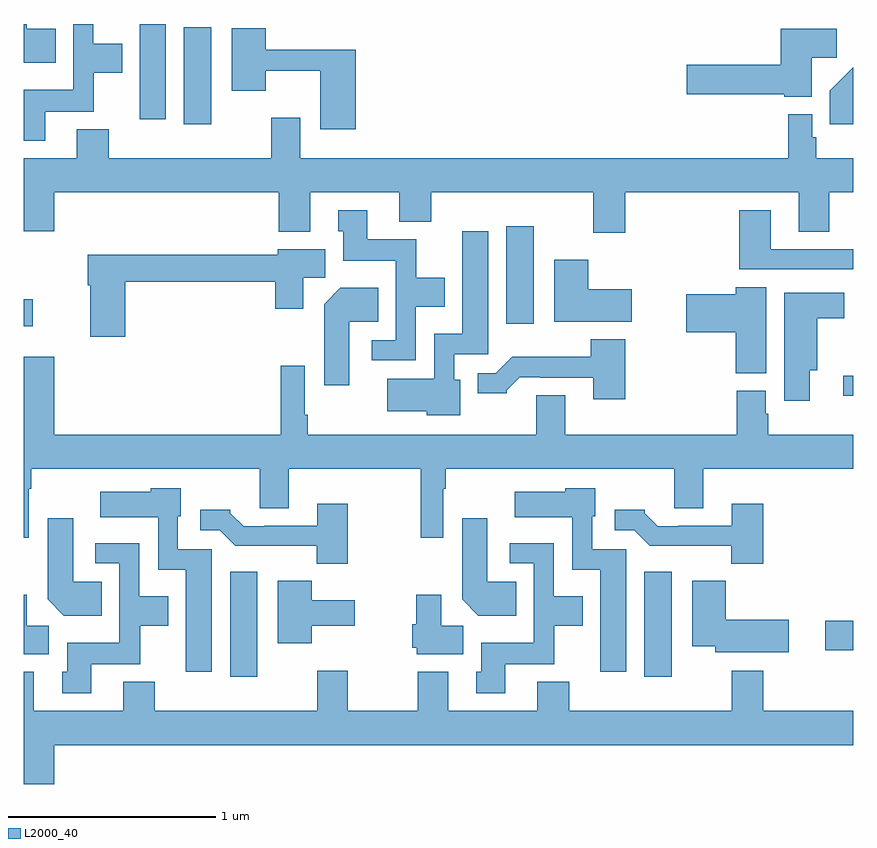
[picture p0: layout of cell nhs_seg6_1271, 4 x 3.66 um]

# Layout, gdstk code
import gdstk
lib = gdstk.Library(unit=1e-6, precision=1e-09)
def R(c, l, rs):  # rectangles x0, y0, x1, y1
    for r in rs: c.add(gdstk.rectangle(r[:2], r[2:], *l))
def P(c, l, *ps):  # polygons
    for p in ps: c.add(gdstk.Polygon(p, *l))
L2000_40 = (2000, 40)

nhs_seg6_1271 = lib.new_cell('nhs_seg6_1271')
R(nhs_seg6_1271, L2000_40, [(189.995,926.352,190.126,926.86), (191.993,926.352,192.124,926.86), (192.864,926.482,193,926.624), (192.951,927.707,193,927.804), (189,928.043,189.043,928.173), (191.327,928.056,191.458,928.525), (189.773,929.016,189.904,929.485), (189.56,929.04,189.685,929.5)])
P(nhs_seg6_1271, L2000_40, [(189.155,929.476),(189.016,929.476),(189.016,929.5),(189,929.5),(189,929.312),(189.155,929.312)],
  [(189.103,929.078),(189.339,929.078),(189.339,929.264),(189.475,929.264),(189.475,929.404),(189.336,929.404),(189.336,929.5),(189.24,929.5),(189.24,929.182),(189,929.182),(189,928.938),(189.103,928.938)],
  [(190.601,929.375),(190.166,929.375),(190.166,929.479),(190.004,929.479),(190.004,929.178),(190.168,929.178),(190.168,929.275),(190.43,929.275),(190.43,928.992),(190.601,928.992)],
  [(192.799,929.338),(192.92,929.338),(192.92,929.476),(192.65,929.476),(192.65,929.303),(192.198,929.303),(192.198,929.161),(192.666,929.161),(192.666,929.15),(192.799,929.15)],
  [(193,929.292),(192.886,929.178),(192.886,929.016),(193,929.016)],
  [(191.9,928.688),(192.737,928.688),(192.737,928.498),(192.885,928.498),(192.885,928.688),(193,928.688),(193,928.852),(192.821,928.852),(192.821,928.953),(192.801,928.953),(192.801,929.065),(192.685,929.065),(192.685,928.852),(190.333,928.852),(190.333,929.047),(190.193,929.047),(190.193,928.852),(189.41,928.852),(189.41,928.993),(189.257,928.993),(189.257,928.852),(189,928.852),(189,928.5),(189.148,928.5),(189.148,928.688),(190.229,928.688),(190.229,928.499),(190.381,928.499),(190.381,928.688),(190.811,928.688),(190.811,928.547),(190.964,928.547),(190.964,928.688),(191.747,928.688),(191.747,928.494),(191.9,928.494)],
  [(193,928.413),(192.601,928.413),(192.601,928.603),(192.449,928.603),(192.449,928.317),(193,928.317)],
  [(190.89,928.136),(191.029,928.136),(191.029,928.276),(190.893,928.276),(190.893,928.462),(190.657,928.462),(190.657,928.603),(190.517,928.603),(190.517,928.5),(190.541,928.5),(190.541,928.358),(190.794,928.358),(190.794,927.975),(190.677,927.975),(190.677,927.879),(190.89,927.879)],
  [(191.104,927.786),(191.076,927.786),(191.076,927.909),(191.239,927.909),(191.239,928.501),(191.114,928.501),(191.114,928.006),(190.98,928.006),(190.98,927.79),(190.752,927.79),(190.752,927.632),(190.944,927.632),(190.944,927.614),(191.104,927.614)],
  [(189.491,928.258),(190.214,928.258),(190.214,928.128),(190.348,928.128),(190.348,928.276),(190.453,928.276),(190.453,928.414),(190.226,928.414),(190.226,928.387),(189.308,928.387),(189.308,928.241),(189.32,928.241),(189.32,927.993),(189.491,927.993)],
  [(191.932,928.222),(191.722,928.222),(191.722,928.363),(191.558,928.363),(191.558,928.064),(191.932,928.064)],
  [(192.58,928.232),(192.434,928.232),(192.434,928.196),(192.195,928.196),(192.195,928.013),(192.434,928.013),(192.434,927.817),(192.58,927.817)],
  [(190.57,928.064),(190.709,928.064),(190.709,928.228),(190.526,928.228),(190.448,928.15),(190.448,927.759),(190.57,927.759)],
  [(192.79,927.83),(192.826,927.83),(192.826,928.082),(192.955,928.082),(192.955,928.204),(192.668,928.204),(192.668,927.684),(192.79,927.684)],
  [(191.9,927.979),(191.735,927.979),(191.735,927.895),(191.356,927.895),(191.277,927.816),(191.189,927.816),(191.189,927.719),(191.328,927.719),(191.328,927.734),(191.392,927.798),(191.491,927.798),(191.491,927.795),(191.747,927.795),(191.747,927.69),(191.9,927.69)],
  [(189.024,927.26),(189.037,927.26),(189.037,927.356),(190.139,927.356),(190.139,927.166),(190.279,927.166),(190.279,927.356),(190.914,927.356),(190.914,927.024),(191.022,927.024),(191.022,927.26),(191.035,927.26),(191.035,927.356),(192.137,927.356),(192.137,927.166),(192.277,927.166),(192.277,927.356),(193,927.356),(193,927.52),(192.59,927.52),(192.59,927.621),(192.577,927.621),(192.577,927.732),(192.437,927.732),(192.437,927.52),(191.611,927.52),(191.611,927.71),(191.471,927.71),(191.471,927.52),(190.369,927.52),(190.369,927.616),(190.356,927.616),(190.356,927.853),(190.24,927.853),(190.24,927.52),(189.148,927.52),(189.148,927.895),(189,927.895),(189,927.024),(189.024,927.024)],
  [(191.905,926.967),(191.742,926.967),(191.742,927.126),(191.755,927.126),(191.755,927.262),(191.61,927.262),(191.61,927.244),(191.367,927.244),(191.367,927.122),(191.646,927.122),(191.646,926.87),(191.78,926.87),(191.78,926.376),(191.905,926.376)],
  [(189.907,926.967),(189.744,926.967),(189.744,927.126),(189.757,927.126),(189.757,927.262),(189.612,927.262),(189.612,927.244),(189.369,927.244),(189.369,927.122),(189.648,927.122),(189.648,926.87),(189.782,926.87),(189.782,926.376),(189.907,926.376)],
  [(192.566,927.187),(192.413,927.187),(192.413,927.081),(192.157,927.081),(192.157,927.078),(192.058,927.078),(191.994,927.142),(191.994,927.157),(191.85,927.157),(191.85,927.06),(191.943,927.06),(192.019,926.984),(192.411,926.984),(192.411,926.897),(192.566,926.897)],
  [(190.563,927.187),(190.415,927.187),(190.415,927.081),(190.159,927.081),(190.159,927.078),(190.06,927.078),(189.996,927.142),(189.996,927.157),(189.852,927.157),(189.852,927.06),(189.945,927.06),(190.021,926.984),(190.413,926.984),(190.413,926.897),(190.563,926.897)],
  [(191.375,926.812),(191.236,926.812),(191.236,927.118),(191.114,927.118),(191.114,926.726),(191.192,926.648),(191.375,926.648)],
  [(189.377,926.812),(189.238,926.812),(189.238,927.118),(189.116,927.118),(189.116,926.726),(189.194,926.648),(189.377,926.648)],
  [(189.325,926.414),(189.561,926.414),(189.561,926.6),(189.697,926.6),(189.697,926.74),(189.558,926.74),(189.558,926.997),(189.345,926.997),(189.345,926.901),(189.462,926.901),(189.462,926.518),(189.209,926.518),(189.209,926.376),(189.185,926.376),(189.185,926.274),(189.325,926.274)],
  [(191.323,926.414),(191.559,926.414),(191.559,926.6),(191.695,926.6),(191.695,926.74),(191.556,926.74),(191.556,926.997),(191.343,926.997),(191.343,926.901),(191.46,926.901),(191.46,926.518),(191.207,926.518),(191.207,926.376),(191.183,926.376),(191.183,926.274),(191.323,926.274)],
  [(190.39,926.6),(190.597,926.6),(190.597,926.722),(190.388,926.722),(190.388,926.815),(190.226,926.815),(190.226,926.514),(190.39,926.514)],
  [(192.688,926.629),(192.386,926.629),(192.386,926.815),(192.224,926.815),(192.224,926.501),(192.335,926.501),(192.335,926.471),(192.688,926.471)],
  [(189.121,926.6),(189.016,926.6),(189.016,926.749),(189,926.749),(189,926.462),(189.121,926.462)],
  [(191.119,926.6),(191.014,926.6),(191.014,926.749),(190.892,926.749),(190.892,926.607),(190.874,926.607),(190.874,926.493),(190.896,926.493),(190.896,926.462),(191.119,926.462)],
  [(189.148,926.024),(193,926.024),(193,926.188),(192.566,926.188),(192.566,926.383),(192.413,926.383),(192.413,926.188),(191.63,926.188),(191.63,926.329),(191.477,926.329),(191.477,926.188),(191.047,926.188),(191.047,926.377),(190.9,926.377),(190.9,926.188),(190.563,926.188),(190.563,926.383),(190.415,926.383),(190.415,926.188),(189.632,926.188),(189.632,926.329),(189.479,926.329),(189.479,926.188),(189.049,926.188),(189.049,926.377),(189,926.377),(189,925.836),(189.148,925.836)])

lib.write_gds('nhs_seg6_1271.gds')
